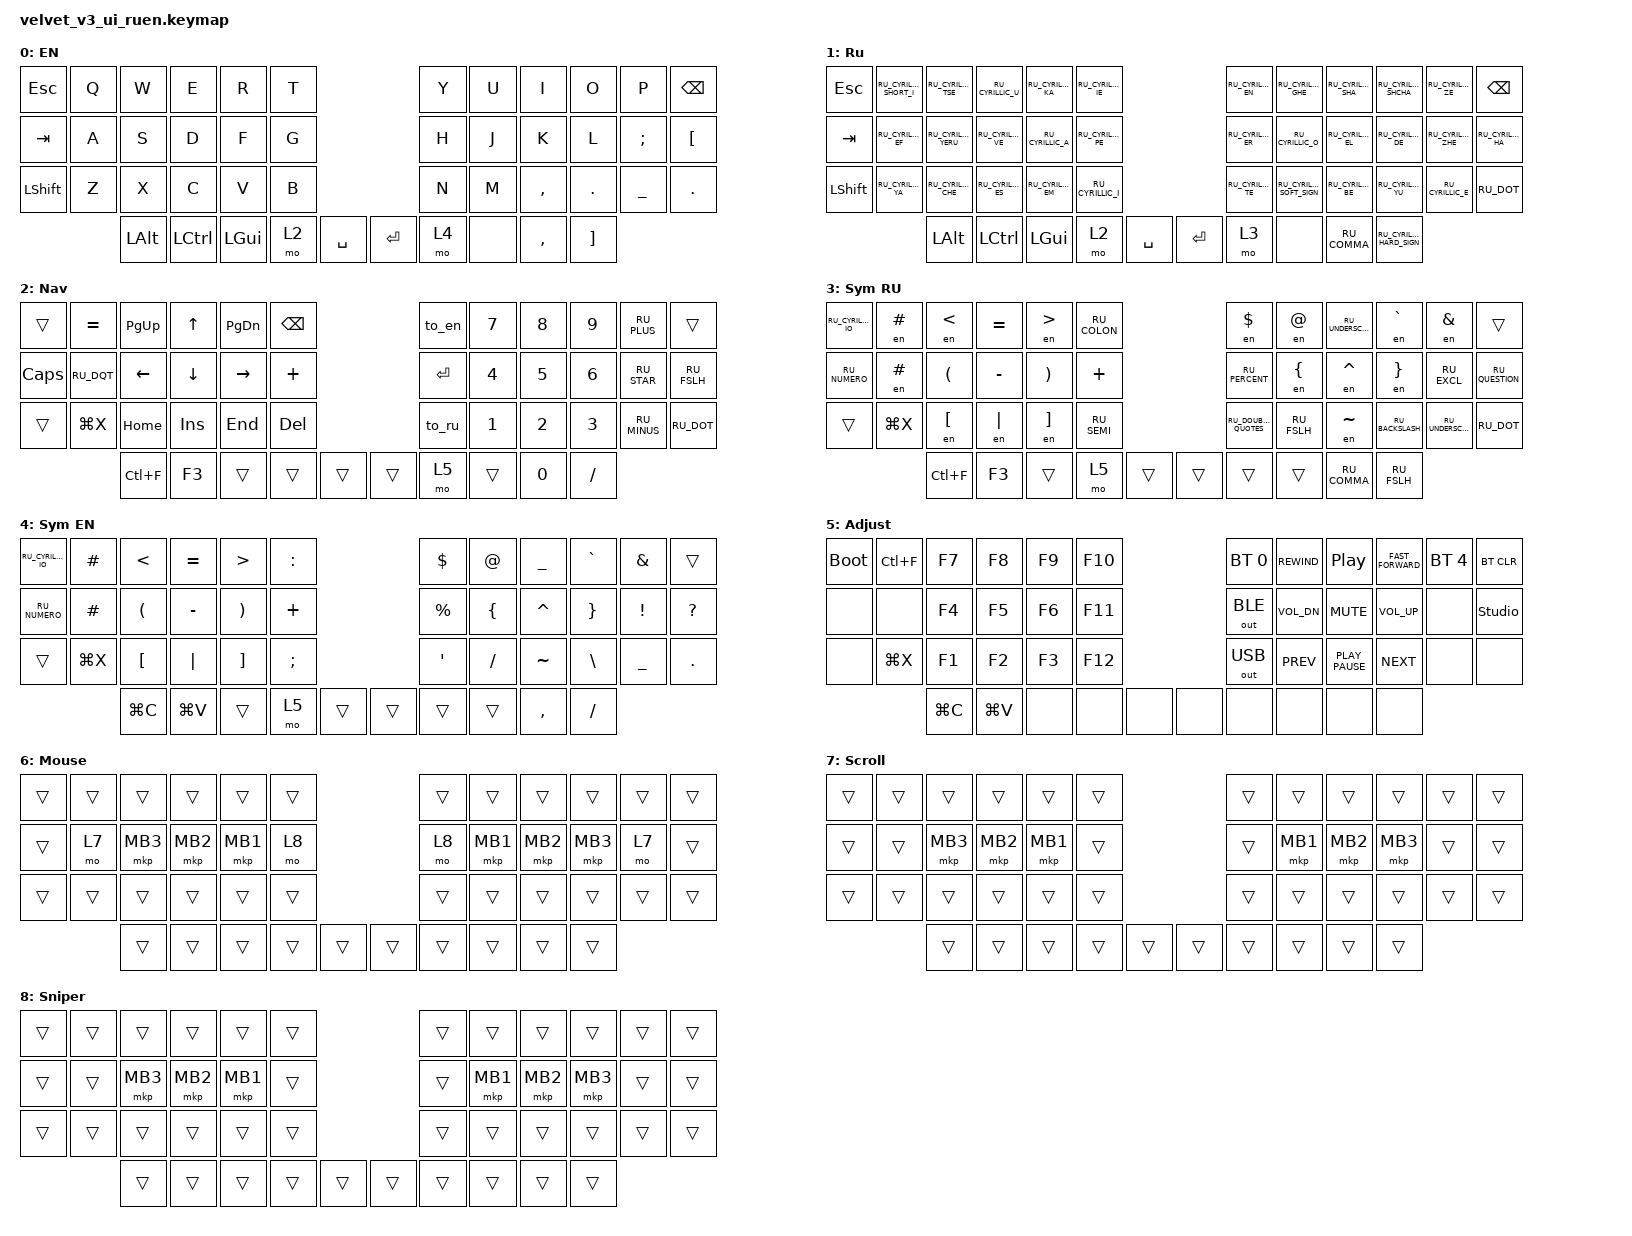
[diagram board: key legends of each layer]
#include "keys_ru.h"
#include <dt-bindings/zmk/input_transform.h>
#include <input/processors.dtsi>
#include <zephyr/dt-bindings/input/input-event-codes.h>
#include <behaviors.dtsi>
#include <dt-bindings/zmk/bt.h>
#include <dt-bindings/zmk/keys.h>
#include <dt-bindings/zmk/outputs.h>
#include <dt-bindings/zmk/pointing.h>

/ {
    behaviors {
        cap_sen: cap_sen {
            compatible = "zmk,behavior-hold-tap";
            label = "CAP_SEN";
            bindings = <&mo>, <&mkp>;

            #binding-cells = <2>;
            tapping-term-ms = <150>;
            hold-while-undecided;
        };

        mouse_layer: mouse_layer {
            compatible = "zmk,behavior-sticky-key";
            label = "MOUSE_LAYER";
            bindings = <&mo>;
            #binding-cells = <1>;
            release-after-ms = <200>;
        };

        zip_auto_mouse: zip_auto_mouse {
            compatible = "zmk,input-processor-temp-layer";
            #input-processor-cells = <2>;
            require-prior-idle-ms = <800>;
            excluded-positions = <>;
        };
    };

    combos {
        compatible = "zmk,combos";

        cmben {
            bindings = <&layer_en>;
            key-positions = <3 4>;
            layers = <1>;
            slow-release;
            require-prior-idle-ms = <200>;
            timeout-ms = <40>;
        };

        cmbru {
            bindings = <&layer_ru>;
            key-positions = <3 4>;
            layers = <0>;
            slow-release;
            require-prior-idle-ms = <200>;
            timeout-ms = <40>;
        };

        screenshot {
            bindings = <&screenshot>;
            key-positions = <8 9 7>;
            slow-release;
        };
    };

    macros {
        to_ru: to_ru {
            compatible = "zmk,behavior-macro";
            #binding-cells = <0>;
            bindings = <&kp LC(LS(NUMBER_2))>;
            label = "TO_RU";
        };

        to_en: to_en {
            compatible = "zmk,behavior-macro";
            #binding-cells = <0>;
            bindings = <&kp LC(LS(N1))>;
            label = "TO_EN";
        };

        layer_en: layer_en {
            compatible = "zmk,behavior-macro";
            #binding-cells = <0>;
            bindings = <&to 0 &to_en>;
            label = "LAYER_EN";
            wait-ms = <0>;
            tap-ms = <30>;
        };

        layer_ru: layer_ru {
            compatible = "zmk,behavior-macro";
            #binding-cells = <0>;
            bindings = <&to 1 &to_ru>;
            label = "LAYER_RU";
            tap-ms = <30>;
            wait-ms = <0>;
        };

        en: en {
            compatible = "zmk,behavior-macro-one-param";
            #binding-cells = <1>;
            bindings =
                <&to_en>,
                <&macro_press>,
                <&macro_param_1to1 &kp MACRO_PLACEHOLDER>,
                <&macro_pause_for_release>,
                <&macro_release>,
                <&macro_param_1to1 &kp MACRO_PLACEHOLDER>,
                <&macro_tap>,
                <&to_ru>;

            label = "EN";
            wait-ms = <0>;
            tap-ms = <30>;
        };

        screenshot: screenshot {
            compatible = "zmk,behavior-macro";
            #binding-cells = <0>;
            bindings = <&kp LG(LS(NUMBER_4))>;
            label = "SCREENSHOT";
        };
    };

    keymap {
        compatible = "zmk,keymap";

        en {
            bindings = <
&kp ESC    &kp Q  &kp W     &kp E             &kp R         &kp T                        &kp Y  &kp U  &kp I      &kp O              &kp P      &kp BSPC
&kp TAB    &kp A  &kp S     &kp D             &kp F         &kp G                        &kp H  &kp J  &kp K      &kp L              &kp SEMI   &kp LEFT_BRACKET
&kp LSHFT  &kp Z  &kp X     &kp C             &kp V         &kp B                        &kp N  &kp M  &kp COMMA  &kp DOT            &kp UNDER  &kp DOT
                  &kp LALT  &kp LEFT_CONTROL  &kp LEFT_GUI  &mo 2  &kp SPACE    &kp RET  &mo 4  &none  &kp COMMA  &kp RIGHT_BRACKET
            >;

            display-name = "EN";
        };

        ru {
            display-name = "Ru";
            bindings = <
&kp ESC    &kp RU_CYRILLIC_SHORT_I  &kp RU_CYRILLIC_TSE   &kp RU_CYRILLIC_U   &kp RU_CYRILLIC_KA  &kp RU_CYRILLIC_IE                        &kp RU_CYRILLIC_EN  &kp RU_CYRILLIC_GHE        &kp RU_CYRILLIC_SHA  &kp RU_CYRILLIC_SHCHA      &kp RU_CYRILLIC_ZE   &kp BSPC
&kp TAB    &kp RU_CYRILLIC_EF       &kp RU_CYRILLIC_YERU  &kp RU_CYRILLIC_VE  &kp RU_CYRILLIC_A   &kp RU_CYRILLIC_PE                        &kp RU_CYRILLIC_ER  &kp RU_CYRILLIC_O          &kp RU_CYRILLIC_EL   &kp RU_CYRILLIC_DE         &kp RU_CYRILLIC_ZHE  &kp RU_CYRILLIC_HA
&kp LSHFT  &kp RU_CYRILLIC_YA       &kp RU_CYRILLIC_CHE   &kp RU_CYRILLIC_ES  &kp RU_CYRILLIC_EM  &kp RU_CYRILLIC_I                         &kp RU_CYRILLIC_TE  &kp RU_CYRILLIC_SOFT_SIGN  &kp RU_CYRILLIC_BE   &kp RU_CYRILLIC_YU         &kp RU_CYRILLIC_E    &kp RU_DOT
                                    &kp LALT              &kp LEFT_CONTROL    &kp LGUI            &mo 2               &kp SPACE    &kp RET  &mo 3               &none                      &kp RU_COMMA         &kp RU_CYRILLIC_HARD_SIGN
            >;
        };

        nav {
            bindings = <
&trans    &kp EQUAL   &kp PAGE_UP     &kp UP_ARROW    &kp PAGE_DOWN    &kp BACKSPACE                    &to_en      &kp NUMBER_7  &kp NUMBER_8  &kp NUMBER_9  &kp RU_PLUS   &trans
&kp CLCK  &kp RU_DQT  &kp LEFT_ARROW  &kp DOWN_ARROW  &kp RIGHT_ARROW  &kp PLUS                         &kp RETURN  &kp NUMBER_4  &kp NUMBER_5  &kp NUMBER_6  &kp RU_STAR   &kp RU_FSLH
&trans    &kp LG(X)   &kp HOME        &kp INS         &kp END          &kp DEL                          &to_ru      &kp NUMBER_1  &kp NUMBER_2  &kp NUMBER_3  &kp RU_MINUS  &kp RU_DOT
                      &kp LC(F)       &kp F3          &trans           &trans         &trans    &trans  &mo 5       &trans        &kp NUMBER_0  &kp SLASH
            >;

            display-name = "Nav";
        };

        sym_ru {
            display-name = "Sym RU";
            bindings = <
&kp RU_CYRILLIC_IO  &en HASH   &en LT            &kp EQUAL  &en GT             &kp RU_COLON                    &en DOLLAR            &en AT_SIGN  &kp RU_UNDERSCORE  &en GRAVE         &en AMPS           &trans
&kp RU_NUMERO       &en HASH   &kp LPAR          &kp MINUS  &kp RPAR           &kp PLUS                        &kp RU_PERCENT        &en LBRC     &en CARET          &en RBRC          &kp RU_EXCL        &kp RU_QUESTION
&trans              &kp LG(X)  &en LEFT_BRACKET  &en PIPE   &en RIGHT_BRACKET  &kp RU_SEMI                     &kp RU_DOUBLE_QUOTES  &kp RU_FSLH  &en TILDE          &kp RU_BACKSLASH  &kp RU_UNDERSCORE  &kp RU_DOT
                               &kp LC(F)         &kp F3     &trans             &mo 5         &trans    &trans  &trans                &trans       &kp RU_COMMA       &kp RU_FSLH
            >;
        };

        SYM_EN {
            display-name = "Sym EN";
            bindings = <
&kp RU_CYRILLIC_IO  &kp HASH   &kp LT            &kp EQUAL  &kp GT             &kp COLON                    &kp DOLLAR   &kp AT_SIGN  &kp UNDERSCORE  &kp GRAVE      &kp AMPERSAND  &trans
&kp RU_NUMERO       &kp HASH   &kp LPAR          &kp MINUS  &kp RPAR           &kp PLUS                     &kp PERCENT  &kp LBRC     &kp CARET       &kp RBRC       &kp EXCL       &kp QMARK
&trans              &kp LG(X)  &kp LEFT_BRACKET  &kp PIPE   &kp RIGHT_BRACKET  &kp SEMI                     &kp SQT      &kp SLASH    &kp TILDE       &kp BACKSLASH  &kp UNDER      &kp DOT
                               &kp LG(C)         &kp LG(V)  &trans             &mo 5      &trans    &trans  &trans       &trans       &kp COMMA       &kp FSLH
            >;
        };

        adj {
            bindings = <
&bootloader  &kp LC(F)  &kp F7     &kp F8     &kp F9  &kp F10                  &bt BT_SEL 0  &kp C_REWIND  &kp C_PLAY_PAUSE  &kp C_FAST_FORWARD  &bt BT_SEL 4  &bt BT_CLR
&none        &none      &kp F4     &kp F5     &kp F6  &kp F11                  &out OUT_BLE  &kp C_VOL_DN  &kp K_MUTE        &kp C_VOL_UP        &none         &studio_unlock
&none        &kp LG(X)  &kp F1     &kp F2     &kp F3  &kp F12                  &out OUT_USB  &kp K_PREV    &kp K_PLAY_PAUSE  &kp K_NEXT          &none         &none
                        &kp LG(C)  &kp LG(V)  &none   &none    &none    &none  &none         &none         &none             &none
            >;

            display-name = "Adjust";
        };

        mouse {
            bindings = <
&trans  &trans  &trans    &trans    &trans    &trans                    &trans  &trans    &trans    &trans    &trans  &trans
&trans  &mo 7   &mkp MB3  &mkp MB2  &mkp MB1  &mo 8                     &mo 8   &mkp MB1  &mkp MB2  &mkp MB3  &mo 7   &trans
&trans  &trans  &trans    &trans    &trans    &trans                    &trans  &trans    &trans    &trans    &trans  &trans
                &trans    &trans    &trans    &trans  &trans    &trans  &trans  &trans    &trans    &trans
            >;

            display-name = "Mouse";
        };

        scroll {
            bindings = <
&trans  &trans  &trans    &trans    &trans    &trans                    &trans  &trans    &trans    &trans    &trans  &trans
&trans  &trans  &mkp MB3  &mkp MB2  &mkp MB1  &trans                    &trans  &mkp MB1  &mkp MB2  &mkp MB3  &trans  &trans
&trans  &trans  &trans    &trans    &trans    &trans                    &trans  &trans    &trans    &trans    &trans  &trans
                &trans    &trans    &trans    &trans  &trans    &trans  &trans  &trans    &trans    &trans
            >;

            display-name = "Scroll";
        };

        sniper {
            bindings = <
&trans  &trans  &trans    &trans    &trans    &trans                    &trans  &trans    &trans    &trans    &trans  &trans
&trans  &trans  &mkp MB3  &mkp MB2  &mkp MB1  &trans                    &trans  &mkp MB1  &mkp MB2  &mkp MB3  &trans  &trans
&trans  &trans  &trans    &trans    &trans    &trans                    &trans  &trans    &trans    &trans    &trans  &trans
                &trans    &trans    &trans    &trans  &trans    &trans  &trans  &trans    &trans    &trans
            >;

            display-name = "Sniper";
        };
    };
};

&trackball { cpi = <1000>; };

&trackball_listener {
    input-processors = <&zip_auto_mouse 6 500>, <&zip_xy_scaler 9 20>;

    scroller {
        layers = <7>;
        input-processors =
            <&zip_xy_transform INPUT_TRANSFORM_Y_INVERT>,
            <&zip_xy_scaler 1 32>,
            <&zip_xy_to_scroll_mapper>;
    };

    sniper {
        layers = <8>;
        input-processors = <&zip_xy_scaler 1 4>;
    };
};
